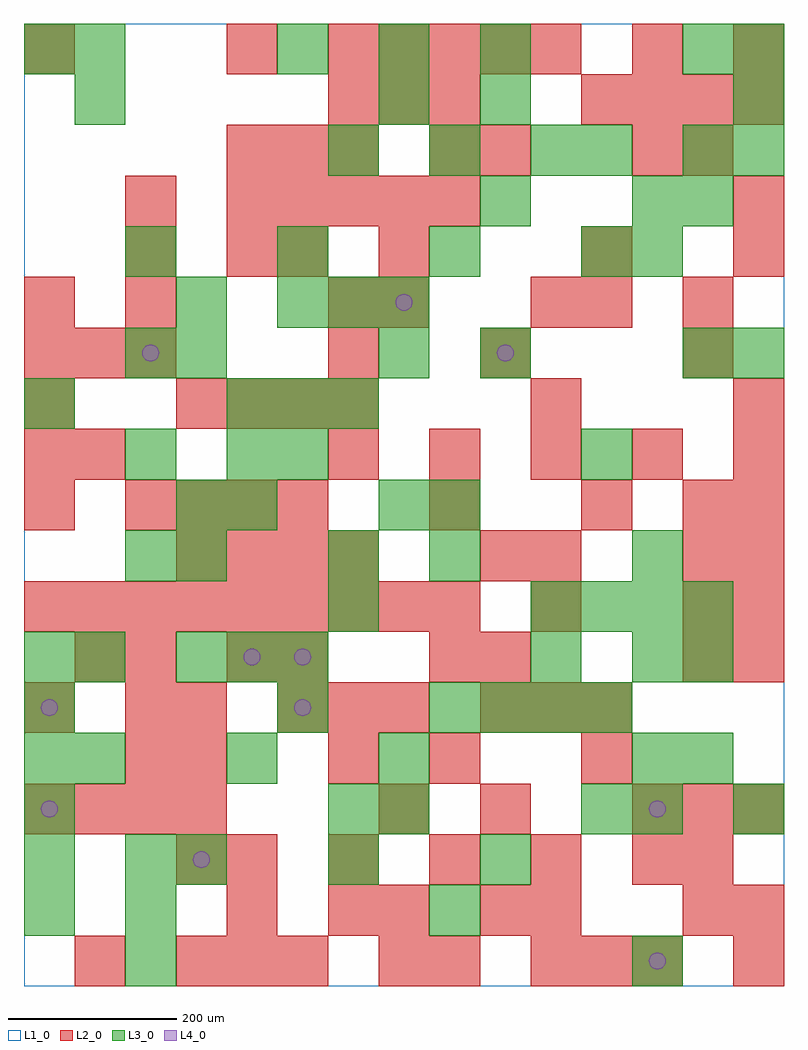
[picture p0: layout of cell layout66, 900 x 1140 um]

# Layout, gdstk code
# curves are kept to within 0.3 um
import gdstk
lib = gdstk.Library(unit=1e-6, precision=1e-09)
def R(c, l, rs):  # rectangles x0, y0, x1, y1
    for r in rs: c.add(gdstk.rectangle(r[:2], r[2:], *l))
def A(c, l, x, y, w, h, nx, ny, dx, dy):  # array of equal rectangles
    R(c, l, [(x+i*dx, y+j*dy, x+i*dx+w, y+j*dy+h) for i in range(nx) for j in range(ny)])
def P(c, l, *ps):  # polygons
    for p in ps: c.add(gdstk.Polygon(p, *l))
L1_0 = (1, 0)
L2_0 = (2, 0)
L3_0 = (3, 0)
L4_0 = (4, 0)

layout66 = lib.new_cell('layout66')
R(layout66, L1_0, [(0,0,900,1140)])
A(layout66, L2_0, 180, 0, 60, 60, 3, 1, 60, 0)
A(layout66, L2_0, 600, 0, 60, 60, 3, 1, 60, 0)
A(layout66, L2_0, 240, 120, 60, 60, 5, 1, 120, 0)
A(layout66, L2_0, 0, 180, 60, 60, 4, 1, 60, 0)
A(layout66, L2_0, 720, 180, 60, 60, 3, 1, 60, 0)
A(layout66, L2_0, 120, 240, 60, 60, 1, 3, 0, 60)
A(layout66, L2_0, 300, 300, 60, 60, 3, 1, 60, 0)
A(layout66, L2_0, 540, 300, 60, 60, 3, 1, 60, 0)
A(layout66, L2_0, 780, 360, 60, 60, 1, 4, 0, 60)
A(layout66, L2_0, 840, 360, 60, 60, 1, 4, 0, 60)
A(layout66, L2_0, 0, 420, 60, 60, 9, 1, 60, 0)
A(layout66, L2_0, 180, 480, 60, 60, 4, 2, 60, 180)
A(layout66, L2_0, 540, 480, 60, 60, 1, 3, 0, 240)
A(layout66, L2_0, 0, 540, 60, 60, 1, 3, 0, 60)
A(layout66, L2_0, 120, 540, 60, 60, 4, 1, 60, 0)
A(layout66, L2_0, 360, 600, 60, 60, 5, 1, 120, 0)
A(layout66, L2_0, 0, 720, 60, 60, 3, 1, 60, 0)
A(layout66, L2_0, 120, 780, 60, 60, 1, 3, 0, 60)
A(layout66, L2_0, 240, 900, 60, 60, 5, 1, 60, 0)
A(layout66, L2_0, 240, 960, 60, 60, 3, 1, 60, 0)
A(layout66, L2_0, 360, 1020, 60, 60, 3, 1, 60, 0)
A(layout66, L2_0, 660, 1020, 60, 60, 4, 1, 60, 0)
A(layout66, L2_0, 360, 1080, 60, 60, 5, 1, 60, 0)
R(layout66, L2_0, [(60,0,120,60), (420,0,480,60), (480,0,540,60), (840,0,900,60), (240,60,300,120), (360,60,420,120), (420,60,480,120), (540,60,600,120), (600,60,660,120), (780,60,840,120), (840,60,900,120), (180,120,240,180), (780,120,840,180), (420,180,480,240), (540,180,600,240), (180,240,240,300), (360,240,420,300), (480,240,540,300), (660,240,720,300), (0,300,60,360), (180,300,240,360), (60,360,120,420), (240,360,300,420), (300,360,360,420), (480,360,540,420), (540,360,600,420), (600,420,660,480), (600,480,660,540), (480,540,540,600), (660,540,720,600), (60,600,120,660), (600,660,660,720), (840,660,900,720), (360,720,420,780), (780,720,840,780), (0,780,60,840), (360,780,420,840), (420,780,480,840), (600,780,660,840), (660,780,720,840), (780,780,840,840), (240,840,300,900), (300,840,360,900), (420,840,480,900), (660,840,720,900), (840,840,900,900), (840,900,900,960), (480,960,540,1020), (720,960,780,1020), (780,960,840,1020), (0,1080,60,1140), (240,1080,300,1140), (720,1080,780,1140), (840,1080,900,1140)])
A(layout66, L3_0, 120, 0, 60, 60, 1, 3, 0, 60)
A(layout66, L3_0, 0, 60, 60, 60, 1, 6, 0, 60)
A(layout66, L3_0, 180, 120, 60, 60, 3, 1, 180, 0)
A(layout66, L3_0, 60, 240, 60, 60, 3, 1, 180, 0)
A(layout66, L3_0, 720, 240, 60, 60, 1, 3, 0, 120)
A(layout66, L3_0, 480, 300, 60, 60, 4, 1, 60, 0)
A(layout66, L3_0, 180, 360, 60, 60, 3, 1, 60, 0)
A(layout66, L3_0, 600, 420, 60, 60, 4, 1, 60, 0)
A(layout66, L3_0, 120, 480, 60, 60, 1, 3, 0, 120)
A(layout66, L3_0, 240, 660, 60, 60, 3, 1, 60, 0)
A(layout66, L3_0, 300, 780, 60, 60, 3, 1, 60, 0)
A(layout66, L3_0, 120, 840, 60, 60, 4, 1, 180, 0)
A(layout66, L3_0, 360, 960, 60, 60, 3, 1, 120, 0)
A(layout66, L3_0, 840, 960, 60, 60, 1, 3, 0, 60)
A(layout66, L3_0, 300, 1080, 60, 60, 3, 1, 120, 0)
R(layout66, L3_0, [(720,0,780,60), (480,60,540,120), (360,180,420,240), (420,180,480,240), (660,180,720,240), (720,180,780,240), (840,180,900,240), (780,240,840,300), (300,300,360,360), (60,360,120,420), (600,360,660,420), (780,360,840,420), (360,420,420,480), (180,480,240,540), (360,480,420,540), (480,480,540,540), (180,540,240,600), (240,540,300,600), (420,540,480,600), (480,540,540,600), (240,600,300,660), (300,600,360,660), (660,600,720,660), (0,660,60,720), (180,720,240,780), (420,720,480,780), (540,720,600,780), (780,720,840,780), (840,720,900,780), (180,780,240,840), (720,840,780,900), (540,900,600,960), (720,900,780,960), (780,900,840,960), (660,960,720,1020), (780,960,840,1020), (60,1020,120,1080), (420,1020,480,1080), (540,1020,600,1080), (0,1080,60,1140), (60,1080,120,1140), (780,1080,840,1140)])
P(layout66, L4_0, [(40,210),(39.239,213.827),(37.071,217.071),(33.827,219.239),(30,220),(26.173,219.239),(22.929,217.071),(20.761,213.827),(20,210),(20.761,206.173),(22.929,202.929),(26.173,200.761),(30,200),(33.827,200.761),(37.071,202.929),(39.239,206.173)],
  [(40,330),(39.239,333.827),(37.071,337.071),(33.827,339.239),(30,340),(26.173,339.239),(22.929,337.071),(20.761,333.827),(20,330),(20.761,326.173),(22.929,322.929),(26.173,320.761),(30,320),(33.827,320.761),(37.071,322.929),(39.239,326.173)],
  [(160,750),(159.239,753.827),(157.071,757.071),(153.827,759.239),(150,760),(146.173,759.239),(142.929,757.071),(140.761,753.827),(140,750),(140.761,746.173),(142.929,742.929),(146.173,740.761),(150,740),(153.827,740.761),(157.071,742.929),(159.239,746.173)],
  [(220,150),(219.239,153.827),(217.071,157.071),(213.827,159.239),(210,160),(206.173,159.239),(202.929,157.071),(200.761,153.827),(200,150),(200.761,146.173),(202.929,142.929),(206.173,140.761),(210,140),(213.827,140.761),(217.071,142.929),(219.239,146.173)],
  [(280,390),(279.239,393.827),(277.071,397.071),(273.827,399.239),(270,400),(266.173,399.239),(262.929,397.071),(260.761,393.827),(260,390),(260.761,386.173),(262.929,382.929),(266.173,380.761),(270,380),(273.827,380.761),(277.071,382.929),(279.239,386.173)],
  [(340,330),(339.239,333.827),(337.071,337.071),(333.827,339.239),(330,340),(326.173,339.239),(322.929,337.071),(320.761,333.827),(320,330),(320.761,326.173),(322.929,322.929),(326.173,320.761),(330,320),(333.827,320.761),(337.071,322.929),(339.239,326.173)],
  [(340,390),(339.239,393.827),(337.071,397.071),(333.827,399.239),(330,400),(326.173,399.239),(322.929,397.071),(320.761,393.827),(320,390),(320.761,386.173),(322.929,382.929),(326.173,380.761),(330,380),(333.827,380.761),(337.071,382.929),(339.239,386.173)],
  [(460,810),(459.239,813.827),(457.071,817.071),(453.827,819.239),(450,820),(446.173,819.239),(442.929,817.071),(440.761,813.827),(440,810),(440.761,806.173),(442.929,802.929),(446.173,800.761),(450,800),(453.827,800.761),(457.071,802.929),(459.239,806.173)],
  [(580,750),(579.239,753.827),(577.071,757.071),(573.827,759.239),(570,760),(566.173,759.239),(562.929,757.071),(560.761,753.827),(560,750),(560.761,746.173),(562.929,742.929),(566.173,740.761),(570,740),(573.827,740.761),(577.071,742.929),(579.239,746.173)],
  [(760,30),(759.239,33.827),(757.071,37.071),(753.827,39.239),(750,40),(746.173,39.239),(742.929,37.071),(740.761,33.827),(740,30),(740.761,26.173),(742.929,22.929),(746.173,20.761),(750,20),(753.827,20.761),(757.071,22.929),(759.239,26.173)],
  [(760,210),(759.239,213.827),(757.071,217.071),(753.827,219.239),(750,220),(746.173,219.239),(742.929,217.071),(740.761,213.827),(740,210),(740.761,206.173),(742.929,202.929),(746.173,200.761),(750,200),(753.827,200.761),(757.071,202.929),(759.239,206.173)])

lib.write_gds('layout66.gds')
